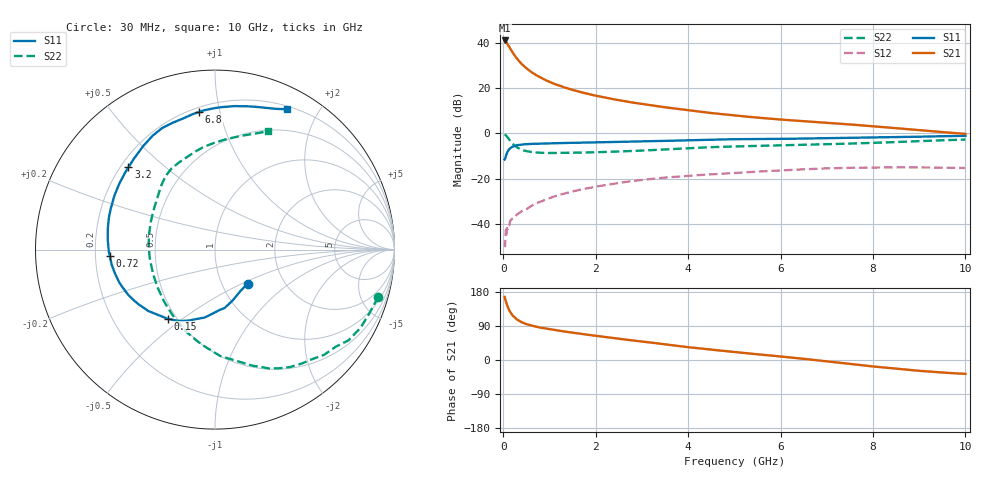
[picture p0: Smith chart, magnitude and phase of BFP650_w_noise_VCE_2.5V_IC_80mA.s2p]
! Infineon Technologies  Discrete & RF Semiconductors
! BFP650
! VCE =  2.5 V,  IC =  80 mA
! Common Emitter S-Parameters:  Jan 2016
# GHz  S  MA  R  50
!  f  S11  S21  S12  S22
! GHz  MAG  ANG  MAG  ANG  MAG  ANG  MAG  ANG
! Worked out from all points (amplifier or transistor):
!   229 points, 30 MHz to 10 GHz, reference 50 ohm
!   highest |S21| = 41.0 dB at 30 MHz (marker M1)
!   |S21| within 3 dB of that: start of sweep to 134 MHz
!   unconditionally stable (mu >= 1): 1.458 GHz to end of sweep
!   at 280 MHz: K = 0.59, MSG = 34.9 dB, |S12| = -36.3 dB
!   at 1.78 GHz: K = 1.02, MAG = 20.3 dB, |S12| = -24.5 dB
!   at 10 GHz: K = 1.03, MAG = 6.5 dB, |S12| = -15.3 dB
!   lowest NFmin = 1.25 dB at 450 MHz
!   S11 on the Smith chart (normalised r, x): 30 MHz: 1.32, -0.54; 150 MHz: 0.45, -0.44; 720 MHz: 0.26, -0.03; 3.2 GHz: 0.23, +0.38; 6.8 GHz: 0.23, +0.87; 10 GHz: 0.23, +1.61
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0.03  0.2624 -46.2  112.3 166.5  0.0036 73.9  0.9461 -16.2
0.04  0.2722 -59.4  111 161.8  0.0032 89.8  0.931 -22.2
0.05  0.3 -70.8  107.5 157.2  0.0057 72.1  0.9205 -28.2
0.06  0.3296 -80.6  105.7 153.5  0.0074 57.5  0.8998 -34.2
0.08  0.366 -94.6  98.56 145.9  0.008 61.9  0.8443 -44.0
0.11  0.4188 -109.7  87.86 136.4  0.0089 65.1  0.7756 -57.6
0.15  0.4668 -124.3  74.56 126.8  0.0116 57.5  0.6799 -72.1
0.2  0.505 -137.3  61.54 117.8  0.0131 55.2  0.5935 -87.2
0.24  0.5232 -144.3  53.59 112.8  0.014 53.4  0.5416 -96.3
0.3  0.5451 -152.3  44.22 106.6  0.0161 58.9  0.4877 -108.5
0.34  0.5528 -156.2  39.55 103.6  0.0171 57.8  0.462 -114.9
0.4  0.5641 -161.0  33.92 99.6  0.019 58.7  0.4332 -123.5
0.5  0.5742 -167.3  27.36 94.7  0.0209 60.4  0.4037 -135.0
0.72  0.5874 -176.5  19.06 87.6  0.0285 60.5  0.3753 -152.4
1.1  0.6016 173.0  12.39 79.4  0.0399 59.8  0.3667 -171.5
1.7  0.6206 160.7  7.993 68.8  0.0575 55.5  0.3742 170.4
3.2  0.6655 136.4  4.152 45.9  0.0976 40.2  0.423 140.8
3.4  0.6735 133.4  3.881 42.8  0.1024 38.0  0.4329 137.8
5.1  0.7394 112.5  2.419 20.0  0.1347 20.5  0.5144 117.1
6.8  0.7721 96.5  1.764 -0.8  0.1642 3.2  0.5661 98.7
8.4  0.8189 77.1  1.32 -21.8  0.1764 -14.5  0.6335 80.5
10  0.8791 62.8  0.969 -36.6  0.1709 -27.5  0.7249 65.9
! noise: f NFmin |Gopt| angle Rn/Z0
0.45  1.25  0.51  -171  0.06
0.9  1.27  0.52  -165  0.06
1.9  1.4  0.55  -151  0.08
2.4  1.49  0.54  -141  0.11
3.5  1.69  0.55  -118  0.19
